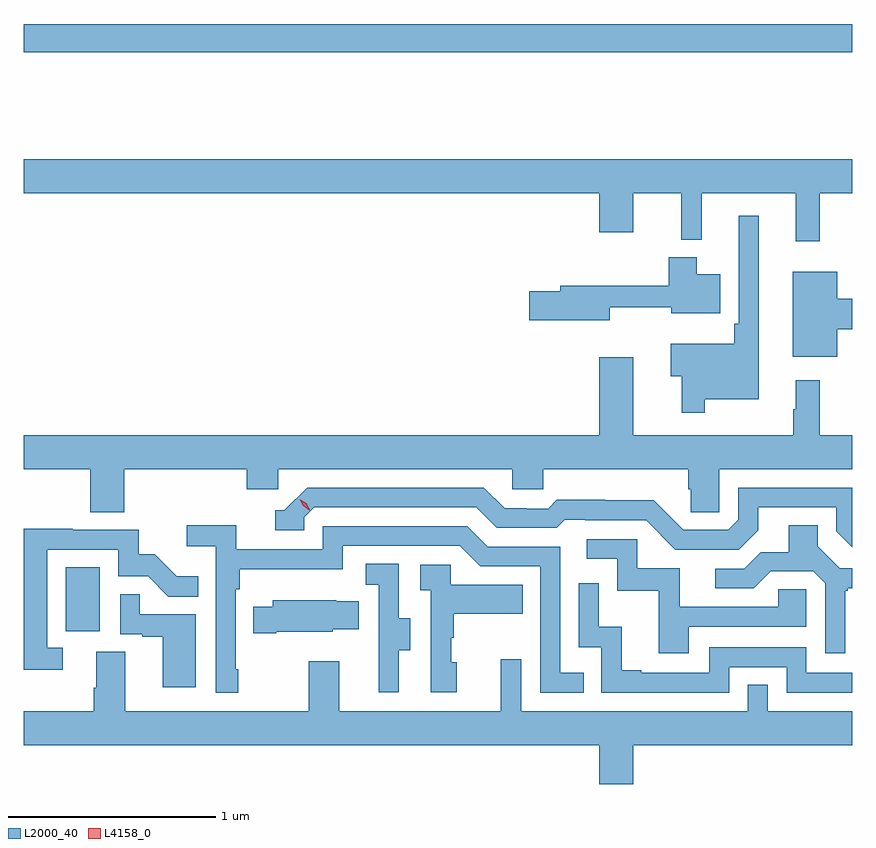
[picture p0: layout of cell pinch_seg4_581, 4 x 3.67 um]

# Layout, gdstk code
import gdstk
lib = gdstk.Library(unit=1e-6, precision=1e-09)
def R(c, l, rs):  # rectangles x0, y0, x1, y1
    for r in rs: c.add(gdstk.rectangle(r[:2], r[2:], *l))
def P(c, l, *ps):  # polygons
    for p in ps: c.add(gdstk.Polygon(p, *l))
L2000_40 = (2000, 40)
L4158_0 = (4158, 0)

pinch_seg4_581 = lib.new_cell('pinch_seg4_581')
R(pinch_seg4_581, L2000_40, [(1073.522,777.39,1073.686,777.697), (1073.318,780.184,1077.318,780.32)])
P(pinch_seg4_581, L2000_40, [(1077.161,779.504),(1077.318,779.504),(1077.318,779.668),(1073.318,779.668),(1073.318,779.504),(1076.096,779.504),(1076.096,779.316),(1076.26,779.316),(1076.26,779.504),(1076.491,779.504),(1076.491,779.279),(1076.591,779.279),(1076.591,779.504),(1077.044,779.504),(1077.044,779.271),(1077.161,779.271)],
  [(1076.605,778.508),(1076.866,778.508),(1076.866,779.395),(1076.769,779.395),(1076.769,778.873),(1076.749,778.873),(1076.749,778.777),(1076.442,778.777),(1076.442,778.619),(1076.494,778.619),(1076.494,778.443),(1076.605,778.443)],
  [(1076.146,778.954),(1076.444,778.954),(1076.444,778.925),(1076.68,778.925),(1076.68,779.113),(1076.566,779.113),(1076.566,779.194),(1076.432,779.194),(1076.432,779.057),(1075.907,779.057),(1075.907,779.031),(1075.758,779.031),(1075.758,778.889),(1076.146,778.889)],
  [(1077.244,778.847),(1077.318,778.847),(1077.318,778.994),(1077.244,778.994),(1077.244,779.125),(1077.029,779.125),(1077.029,778.715),(1077.244,778.715)],
  [(1073.804,778.172),(1074.395,778.172),(1074.395,778.074),(1074.546,778.074),(1074.546,778.172),(1075.677,778.172),(1075.677,778.074),(1075.827,778.074),(1075.827,778.172),(1076.525,778.172),(1076.525,778.074),(1076.539,778.074),(1076.539,777.964),(1076.676,777.964),(1076.676,778.172),(1077.318,778.172),(1077.318,778.336),(1077.161,778.336),(1077.161,778.6),(1077.044,778.6),(1077.044,778.46),(1077.033,778.46),(1077.033,778.336),(1076.26,778.336),(1076.26,778.711),(1076.096,778.711),(1076.096,778.336),(1073.318,778.336),(1073.318,778.172),(1073.639,778.172),(1073.639,777.964),(1073.804,777.964)],
  [(1076.863,777.877),(1076.863,777.987),(1077.24,777.987),(1077.24,777.873),(1077.318,777.795),(1077.318,778.083),(1076.766,778.083),(1076.766,777.927),(1076.718,777.879),(1076.502,777.879),(1076.36,778.021),(1076.124,778.021),(1076.124,778.024),(1075.891,778.024),(1075.849,777.981),(1075.746,777.981),(1075.746,777.984),(1075.639,777.984),(1075.54,778.083),(1074.687,778.083),(1074.576,777.972),(1074.533,777.972),(1074.533,777.876),(1074.672,777.876),(1074.672,777.939),(1074.72,777.987),(1075.503,777.987),(1075.602,777.888),(1075.891,777.888),(1075.93,777.927),(1076.029,777.927),(1076.029,777.924),(1076.322,777.924),(1076.463,777.783),(1076.769,777.783)],
  [(1077.283,777.585),(1077.295,777.585),(1077.295,777.596),(1077.318,777.596),(1077.318,777.693),(1077.258,777.693),(1077.151,777.8),(1077.151,777.902),(1077.011,777.902),(1077.011,777.77),(1076.876,777.77),(1076.796,777.69),(1076.655,777.69),(1076.655,777.597),(1076.842,777.597),(1076.923,777.678),(1077.129,777.678),(1077.186,777.621),(1077.186,777.282),(1077.283,777.282)],
  [(1074.355,777.205),(1074.342,777.205),(1074.342,777.593),(1074.362,777.593),(1074.362,777.689),(1074.858,777.689),(1074.858,777.801),(1075.422,777.801),(1075.521,777.702),(1075.812,777.702),(1075.812,777.093),(1076.021,777.093),(1076.021,777.189),(1075.908,777.189),(1075.908,777.798),(1075.558,777.798),(1075.459,777.897),(1074.762,777.897),(1074.762,777.786),(1074.344,777.786),(1074.344,777.902),(1074.105,777.902),(1074.105,777.8),(1074.246,777.8),(1074.246,777.093),(1074.355,777.093)],
  [(1073.506,777.309),(1073.433,777.309),(1073.433,777.783),(1073.775,777.783),(1073.775,777.654),(1073.919,777.654),(1074.017,777.556),(1074.161,777.556),(1074.161,777.655),(1074.057,777.655),(1073.95,777.762),(1073.874,777.762),(1073.874,777.879),(1073.555,777.879),(1073.555,777.884),(1073.318,777.884),(1073.318,777.204),(1073.506,777.204)],
  [(1076.527,777.411),(1077.096,777.411),(1077.096,777.591),(1076.959,777.591),(1076.959,777.507),(1076.485,777.507),(1076.485,777.693),(1076.28,777.693),(1076.28,777.834),(1076.037,777.834),(1076.037,777.738),(1076.184,777.738),(1076.184,777.585),(1076.383,777.585),(1076.383,777.282),(1076.527,777.282)],
  [(1075.129,777.298),(1075.183,777.298),(1075.183,777.453),(1075.128,777.453),(1075.128,777.716),(1074.969,777.716),(1074.969,777.613),(1075.032,777.613),(1075.032,777.309),(1075.031,777.309),(1075.031,777.096),(1075.129,777.096)],
  [(1075.408,777.24),(1075.383,777.24),(1075.383,777.359),(1075.393,777.359),(1075.393,777.473),(1075.727,777.473),(1075.727,777.613),(1075.38,777.613),(1075.38,777.711),(1075.233,777.711),(1075.233,777.587),(1075.284,777.587),(1075.284,777.096),(1075.408,777.096)],
  [(1076.724,777.216),(1077,777.216),(1077,777.093),(1077.318,777.093),(1077.318,777.189),(1077.096,777.189),(1077.096,777.312),(1076.628,777.312),(1076.628,777.189),(1076.299,777.189),(1076.299,777.202),(1076.204,777.202),(1076.204,777.41),(1076.094,777.41),(1076.094,777.622),(1075.998,777.622),(1075.998,777.312),(1076.106,777.312),(1076.106,777.093),(1076.724,777.093)],
  [(1074.148,777.471),(1073.879,777.471),(1073.879,777.569),(1073.784,777.569),(1073.784,777.375),(1073.891,777.375),(1073.891,777.363),(1073.99,777.363),(1073.99,777.12),(1074.148,777.12)],
  [(1074.538,777.386),(1074.81,777.386),(1074.81,777.398),(1074.935,777.398),(1074.935,777.535),(1074.827,777.535),(1074.827,777.538),(1074.521,777.538),(1074.521,777.508),(1074.427,777.508),(1074.427,777.379),(1074.538,777.379)],
  [(1076.26,776.84),(1077.318,776.84),(1077.318,777.004),(1076.91,777.004),(1076.91,777.131),(1076.814,777.131),(1076.814,777.004),(1075.719,777.004),(1075.719,777.253),(1075.622,777.253),(1075.622,777.004),(1074.841,777.004),(1074.841,777.244),(1074.694,777.244),(1074.694,777.004),(1073.809,777.004),(1073.809,777.29),(1073.669,777.29),(1073.669,777.116),(1073.657,777.116),(1073.657,777.004),(1073.318,777.004),(1073.318,776.84),(1076.096,776.84),(1076.096,776.652),(1076.26,776.652)])
P(pinch_seg4_581, L4158_0, [(1074.697,777.974),(1074.667,777.994),(1074.651,778.027),(1074.651,778.027),(1074.651,778.027),(1074.682,778.008),(1074.698,777.975),(1074.698,777.974)])

lib.write_gds('pinch_seg4_581.gds')
